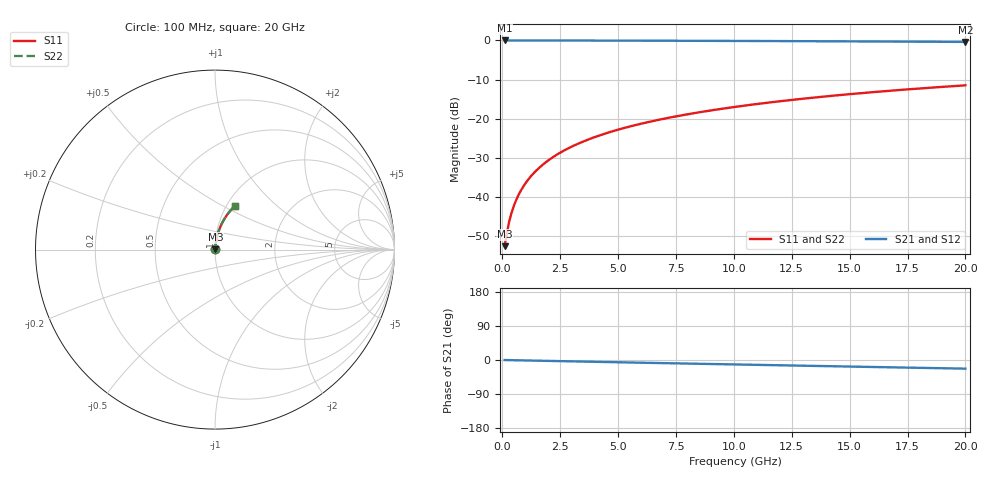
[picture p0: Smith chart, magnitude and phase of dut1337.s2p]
! Touchstone file exported from HFSS 2026.1.0
!  File:  C:/ffzhzh/LocalFiles/Ansys_Project_Files/temp_train_TMRDL_1337_1783165291_51560.aedt
!  Generated:  07:42:39 PM Jul  4, 2026
!  Design:  TMRDL
!  Project:  temp_train_TMRDL_1337_1783165291_51560
! Variables:
!  h_bsmrdl = 2um
!  h_ox = 20um
!  h_rdl = 5um
!  h_sub = 80um
!  h_tmrdl = 5.71um
!  h_tsv = 80um
!  h_via = 3um
!  l_bsmrdl = 300um
!  l_sub = 680.61um
!  l_tmrdl = 280.61um
!  m_sub = 200um
!  pitch = 41.07um
!  r_tsv = 6um
!  s_tmrdl = 10um
!  w_bsmrdl = 18um
!  w_sub = 500um
!  w_tmrdl = 10.07um
!  x_tsv_center1 = 285.645um
!  x_tsv_center2 = 603.645um
!  x_tsv_center3 = 894.325um
!  x_tsv_center4 = 1212.325um
!  x_tsv_center5 = 1503.005um
!  x_tsv_center6 = 1821.005um
# GHz S MA R 50.000000
! Terminal data exported
! Port[1] = TM_RDL1_1_T1
! Port[2] = TM_RDL1_1_T2
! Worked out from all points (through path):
!   200 points, 100 MHz to 20 GHz, reference 50 ohm
!   highest |S21| = -0.02 dB at 100 MHz (marker M1); lowest = -0.4 dB at 20 GHz (marker M2)
!   group delay of S21, straight-line fit = 3.16 ps
!   lowest |S11| = -52.6 dB at 100 MHz (marker M3), VSWR 1.00, Z = 50.2 + j0.152 ohm
!   |S11| at or under -10 dB: start of sweep to end of sweep
!   |S22| runs from -52.6 to -11.5 dB; largest |S21 - S12| = 3.5e-15
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0.1  0.00235 40.1  0.9982 -0.1  0.9982 -0.1  0.00235 40.1
! Gamma 0 0 0 0
! Port Impedance 50 0 50 0
0.2  0.00353 58.7  0.9982 -0.2  0.9982 -0.2  0.00353 58.7
0.3  0.004878 67.2  0.9981 -0.4  0.9981 -0.4  0.004877 67.2
0.4  0.006277 72.0  0.9981 -0.5  0.9981 -0.5  0.006277 72.0
0.5  0.0077 75.0  0.9981 -0.6  0.9981 -0.6  0.0077 75.0
0.6  0.009135 77.0  0.998 -0.7  0.998 -0.7  0.009135 77.0
0.8  0.01203 79.5  0.9979 -1.0  0.9979 -1.0  0.01203 79.5
1.1  0.01639 81.5  0.9978 -1.3  0.9978 -1.3  0.01639 81.5
1.5  0.02223 82.6  0.9976 -1.8  0.9976 -1.8  0.02223 82.6
1.8  0.0266 83.0  0.9974 -2.2  0.9974 -2.2  0.0266 83.0
2.1  0.03096 83.1  0.9972 -2.5  0.9972 -2.5  0.03096 83.1
2.7  0.03965 83.0  0.9966 -3.3  0.9966 -3.3  0.03965 83.0
3.5  0.05114 82.5  0.9958 -4.2  0.9958 -4.2  0.05114 82.5
4.2  0.06109 81.9  0.9949 -5.0  0.9949 -5.0  0.06109 81.9
5  0.07237 81.2  0.9938 -6.0  0.9938 -6.0  0.07237 81.2
5.9  0.08493 80.3  0.9924 -7.0  0.9924 -7.0  0.08493 80.3
6.8  0.09736 79.3  0.9909 -8.1  0.9909 -8.1  0.09736 79.4
8.3  0.1178 77.8  0.9881 -9.8  0.9881 -9.8  0.1178 77.8
10.1  0.142 75.9  0.9844 -11.8  0.9844 -11.8  0.142 75.9
13.4  0.1852 72.5  0.9763 -15.6  0.9763 -15.6  0.1852 72.5
16.7  0.2269 69.0  0.9669 -19.2  0.9669 -19.2  0.2269 69.0
20  0.2666 65.6  0.9562 -22.8  0.9562 -22.8  0.2666 65.6
